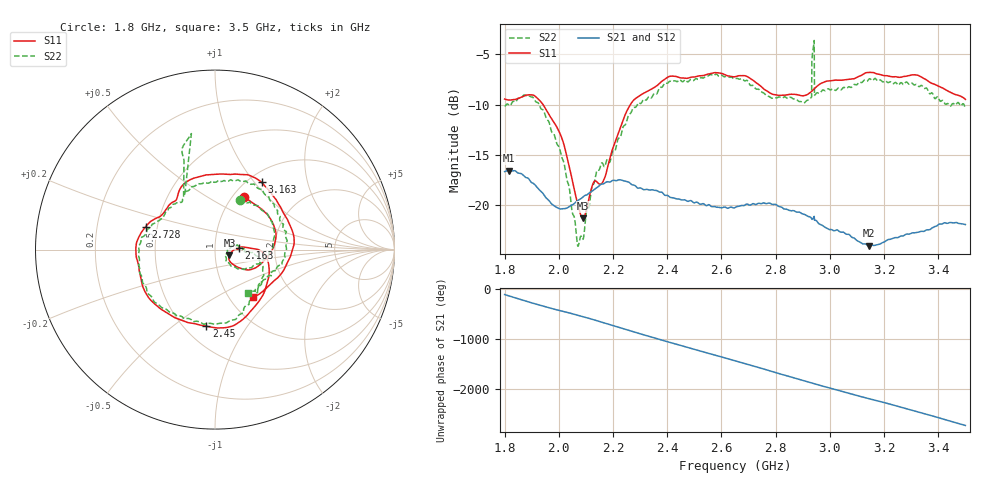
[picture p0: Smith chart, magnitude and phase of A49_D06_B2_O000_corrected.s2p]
! Created with skrf 1.9.0 (http://scikit-rf.org).
# Hz S RI R 50.0
!freq ReS11 ImS11 ReS21 ImS21 ReS12 ImS12 ReS22 ImS22
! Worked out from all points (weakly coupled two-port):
!   1601 points, 1.8 GHz to 3.5 GHz, reference 50 ohm
!   highest |S21| = -16.55 dB at 1.815 GHz (marker M1); lowest = -24.0 dB at 3.144 GHz (marker M2)
!   lowest |S11| = -21.3 dB at 2.09 GHz (marker M3), VSWR 1.19, Z = 58.6 - j3.71 ohm
!   |S11| at or under -10 dB: 1.942 GHz to 2.264 GHz (321.9 MHz wide, 15.3 % of centre)
!   |S22| runs from -24.1 to -3.6 dB; largest |S21 - S12| = 0.0025
!   S11 on the Smith chart (normalised r, x): 1.8 GHz: 1.12, +0.75; 2.163 GHz: 1.30, +0.02; 2.45 GHz: 0.64, -0.67; 2.728 GHz: 0.43, +0.13; 3.163 GHz: 1.15, +1.09; 3.5 GHz: 1.28, -0.76
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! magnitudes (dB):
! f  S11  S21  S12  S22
! 1.8 GHz  -9.4  -16.7  -16.7  -10.1
! 1.815 GHz  -9.5  -16.6  -16.6  -10.0
! 1.943 GHz  -10.1  -18.9  -18.9  -10.6
! 2.013 GHz  -13.4  -20.4  -20.4  -15.4
! 2.068 GHz  -19.7  -19.6  -19.6  -23.8
! 2.084 GHz  -21.2  -19.3  -19.3  -23.1
! 2.09 GHz  -21.3  -19.2  -19.2  -23.3
! 2.128 GHz  -17.7  -18.5  -18.5  -17.9
! 2.163 GHz  -17.6  -17.9  -17.8  -15.9
! 2.26 GHz  -10.2  -17.7  -17.8  -10.9
! 2.367 GHz  -8.0  -18.6  -18.6  -8.5
! 2.45 GHz  -7.3  -19.4  -19.4  -7.6
! 2.65 GHz  -7.2  -20.2  -20.2  -7.4
! 2.728 GHz  -7.8  -19.9  -19.9  -8.4
! 2.905 GHz  -9.1  -20.9  -20.9  -9.8
! 2.924 GHz  -8.9  -21.1  -21.1  -9.5
! 2.934 GHz  -8.6  -21.4  -21.4  -5.6
! 2.952 GHz  -8.2  -21.6  -21.6  -8.8
! 3.144 GHz  -6.8  -24.0  -23.9  -7.5
! 3.163 GHz  -6.8  -24.0  -24.0  -7.4
! 3.217 GHz  -7.2  -23.4  -23.4  -7.8
! 3.5 GHz  -9.5  -21.9  -21.9  -10.4
